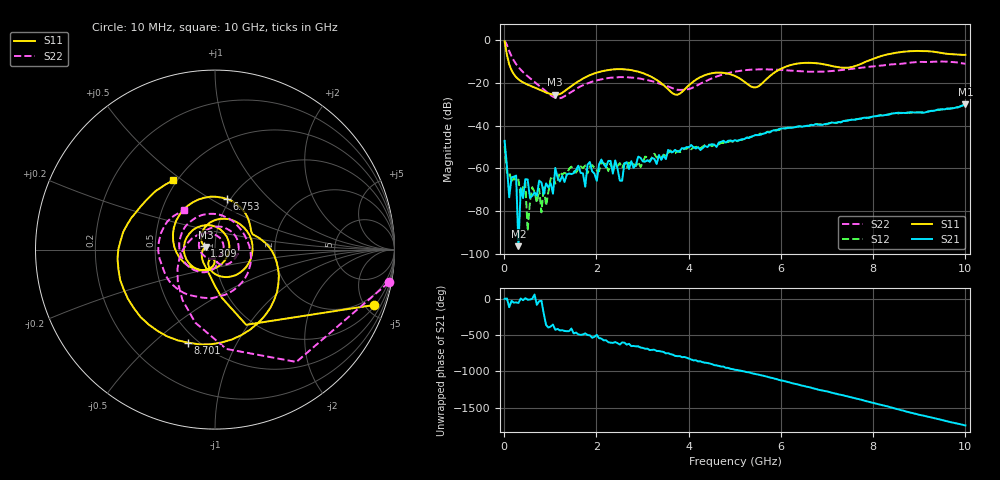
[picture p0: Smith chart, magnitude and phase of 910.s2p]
!Agilent Technologies,N5230C,MY49000813,A.09.42.22
!Agilent N5230C: A.09.42.22
!Date: Friday, August 21, 2026 19:43:19
!Correction: S11(Full 2 Port(1,2))
!S21(Full 2 Port(1,2))
!S12(Full 2 Port(1,2))
!S22(Full 2 Port(1,2))
!S2P File: Measurements: S11, S21, S12, S22:
# Hz S  dB  R 50
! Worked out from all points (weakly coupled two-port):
!   201 points, 10 MHz to 10 GHz, reference 50 ohm
!   highest |S21| = -30.12 dB at 10 GHz (marker M1); lowest = -96.5 dB at 309.7 MHz (marker M2)
!   lowest |S11| = -25.6 dB at 1.109 GHz (marker M3), VSWR 1.11, Z = 45.2 + j1.3 ohm
!   |S11| at or under -10 dB: 94.87 MHz to 7.851 GHz (7.756 GHz wide, 195 % of centre)
!   |S22| runs from -27.2 to -0.1 dB; largest |S21 - S12| = 0.0069
!   S11 on the Smith chart (normalised r, x): 10 MHz: 1.10, -5.71; 1.309 GHz: 0.89, +0.04; 6.753 GHz: 0.97, +0.60; 8.701 GHz: 0.45, -0.65; 10 GHz: 0.47, +0.47
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1e7  -0.55 -19.2  -47.14 -2.5  -49.59 -128.3  -0.13 -10.7
1.099e8  -11.35 -81.9  -73.56 -117.4  -61.63 12.4  -5.08 -83.5
2.5975e8  -17.28 -104.6  -63.40 -51.8  -66.05 -34.7  -11.20 -138.7
3.097e8  -18.30 -111.2  -96.46 -59.3  -65.32 105.0  -12.60 -153.0
4.5955e8  -20.30 -132.3  -65.13 6.7  -66.56 44.0  -15.99 167.3
5.095e8  -20.84 -139.6  -65.25 -14.0  -89.45 -33.0  -16.90 154.8
6.094e8  -21.74 -154.3  -72.94 -2.6  -68.87 -16.5  -18.69 130.4
8.5915e8  -24.07 175.2  -72.04 150.9  -68.54 -13.4  -23.05 67.1
9.091e8  -24.54 170.7  -67.06 -2.0  -77.57 11.5  -23.98 53.5
1.05895e9  -25.47 164.0  -71.90 3.1  -63.75 -59.5  -26.45 4.2
1.1089e9  -25.59 164.2  -59.80 -68.9  -67.18 -58.2  -26.92 -14.3
1.3087e9  -23.89 160.3  -66.37 -84.9  -62.13 -79.4  -26.26 -87.5
1.7083e9  -18.01 122.4  -62.36 -133.0  -59.89 -136.3  -21.13 174.9
2.4076e9  -13.61 21.6  -56.33 122.5  -58.14 145.4  -17.48 58.6
2.55745e9  -13.58 -0.3  -65.81 116.7  -59.84 105.7  -17.29 36.8
3.35665e9  -19.30 -106.7  -53.79 -2.1  -54.37 -6.7  -20.26 -59.4
5.005e9  -16.78 109.6  -46.84 99.5  -46.85 105.2  -14.74 -157.6
6.7033e9  -10.69 82.5  -39.84 -156.8  -39.73 -155.6  -14.79 38.6
6.75325e9  -10.75 76.4  -39.30 -163.1  -39.30 -163.1  -14.77 34.9
8.35165e9  -6.48 -59.7  -34.82 -52.2  -34.58 -52.4  -11.48 -90.1
8.7013e9  -5.36 -106.1  -34.11 -112.8  -34.07 -112.1  -10.79 -118.2
1e10  -6.84 121.0  -30.12 52.7  -30.15 52.0  -11.01 128.4
